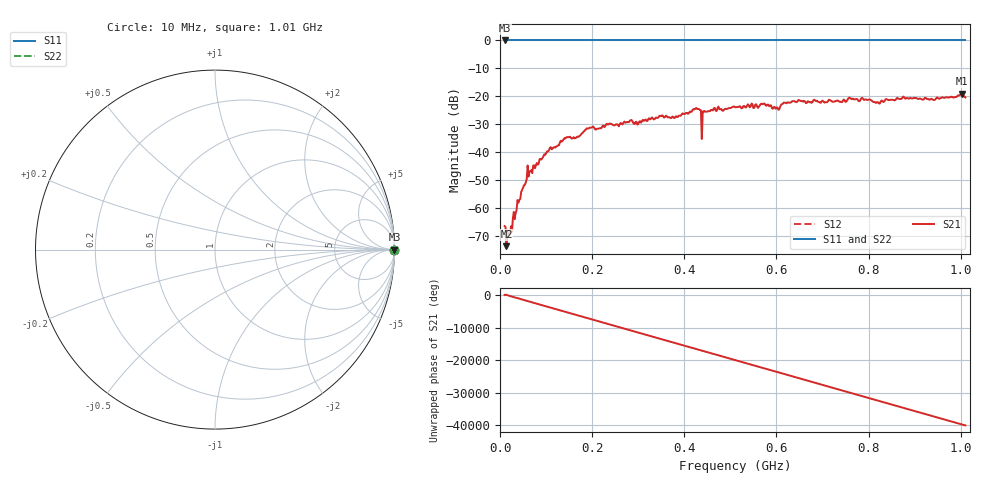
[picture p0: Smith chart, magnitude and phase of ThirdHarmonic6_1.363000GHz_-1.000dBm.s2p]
! 8/16/2025 3:24:22 PM
! C:\ANRITSUVNA\TEMP\TEMP.S2P
! CHANNEL.1
! TR.MEASUREMENT
! RAW.DATA
! RF.CORRECTION.OFF
! AVERAGING.OFF
! IF.BANDWIDTH: 5KHZ
! SWEEPTYPE:  FREQ.SWEEP(Linear)
! Reference Plane Port Info
! PORT:  PORT1  PORT2
! DISTANCE:  0  m  0  m
! TIME:  0  s  0  s
! PHASE.OFFSET:  0  deg.  0  deg.
! LOSS:  0  dB  0  dB
! REF.LOSS:  0  dB  0  dB
! REF.FREQ:  0  Hz  0  Hz
! Power Info
! POWER:  -20  dBm  -20  dBm
! EFF.POWER:  -20  dBm  -20  dBm
! SOURCE.ATTEN:  0  dB  0  dB
! TEST.ATTEN:  0  dB  0  dB
# GHZ S RI R 50.0
! FREQ.GHZ  S11RE  S11IM  S21RE  S21IM  S12RE  S12IM  S22RE  S22IM
!; PortSelection: Port_12
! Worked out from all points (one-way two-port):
!   501 points, 10 MHz to 1.01 GHz, reference 50 ohm
!   highest |S21| = -19.01 dB at 1.002 GHz (marker M1); lowest = -73.5 dB at 14 MHz (marker M2)
!   lowest |S11| = 0.0 dB at 10 MHz (marker M3)
!   |S11| at or under -10 dB: nowhere
!   |S22| runs from 0.0 to 0.0 dB; largest |S21 - S12| = 1.1
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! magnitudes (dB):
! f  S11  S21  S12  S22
! 10 MHz  0.0  -66.3  0.0  0.0
! 14 MHz  0.0  -73.5  0.0  0.0
! 22 MHz  0.0  -68.9  0.0  0.0
! 42 MHz  0.0  -57.0  0.0  0.0
! 64 MHz  0.0  -46.8  0.0  0.0
! 106 MHz  0.0  -39.3  0.0  0.0
! 142 MHz  0.0  -35.0  0.0  0.0
! 178 MHz  0.0  -33.1  0.0  0.0
! 198 MHz  0.0  -31.2  0.0  0.0
! 344 MHz  0.0  -27.4  0.0  0.0
! 382 MHz  0.0  -27.1  0.0  0.0
! 428 MHz  0.0  -24.5  0.0  0.0
! 442 MHz  0.0  -25.5  0.0  0.0
! 444 MHz  0.0  -25.2  0.0  0.0
! 510 MHz  0.0  -23.8  0.0  0.0
! 570 MHz  0.0  -22.7  0.0  0.0
! 602 MHz  0.0  -24.0  0.0  0.0
! 620 MHz  0.0  -22.3  0.0  0.0
! 678 MHz  0.0  -22.1  0.0  0.0
! 844 MHz  0.0  -21.3  0.0  0.0
! 1.002 GHz  0.0  -19.0  0.0  0.0
! 1.01 GHz  0.0  -20.4  0.0  0.0
